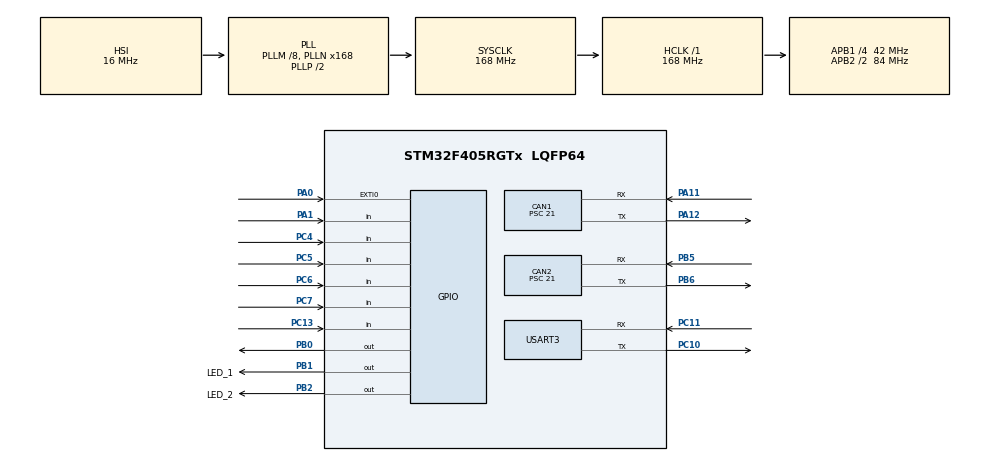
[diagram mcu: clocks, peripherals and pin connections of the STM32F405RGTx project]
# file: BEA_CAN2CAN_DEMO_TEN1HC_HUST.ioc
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CAN1.BS1=CAN_BS1_12TQ
CAN1.BS2=CAN_BS2_4TQ
CAN1.CalculateBaudRate=117647
CAN1.CalculateTimeBit=8500
CAN1.CalculateTimeQuantum=500.0
CAN1.Prescaler=21
CAN2.BS1=CAN_BS1_12TQ
CAN2.BS2=CAN_BS2_4TQ
CAN2.CalculateBaudRate=117647
CAN2.CalculateTimeBit=8500
CAN2.CalculateTimeQuantum=500.0
CAN2.Prescaler=21
Mcu.Family=STM32F4
Mcu.Name=STM32F405RGTx
Mcu.Package=LQFP64
NVIC.CAN1_RX0_IRQn=true\:2\:0\:true\:false\:true\:true\:true\:true
NVIC.CAN2_RX0_IRQn=true\:2\:0\:true\:false\:true\:true\:true\:true
NVIC.EXTI0_IRQn=true\:1\:0\:true\:false\:true\:true\:true\:true
NVIC.PriorityGroup=NVIC_PRIORITYGROUP_4
NVIC.USART3_IRQn=true\:1\:0\:true\:false\:true\:true\:true\:true
PA0-WKUP.GPIO_ModeDefaultEXTI=GPIO_MODE_IT_FALLING
PA0-WKUP.GPIO_PuPd=GPIO_PULLUP
PA0-WKUP.Signal=GPXTI0
PA1.GPIO_PuPd=GPIO_PULLUP
PA1.Signal=GPIO_Input
PA11.Mode=CAN_Activate
PA11.Signal=CAN1_RX
PA12.Mode=CAN_Activate
PA12.Signal=CAN1_TX
PB0.Signal=GPIO_Output
PB1.GPIO_Label=LED_1
PB1.Signal=GPIO_Output
PB2.GPIO_Label=LED_2
PB2.Signal=GPIO_Output
PB5.Mode=CAN_Activate
PB5.Signal=CAN2_RX
PB6.Mode=CAN_Activate
PB6.Signal=CAN2_TX
PC10.Mode=Asynchronous
PC10.Signal=USART3_TX
PC11.Mode=Asynchronous
PC11.Signal=USART3_RX
PC13-ANTI_TAMP.GPIO_PuPd=GPIO_PULLUP
PC13-ANTI_TAMP.Signal=GPIO_Input
PC4.GPIO_PuPd=GPIO_PULLUP
PC4.Signal=GPIO_Input
PC5.GPIO_PuPd=GPIO_PULLUP
PC5.Signal=GPIO_Input
PC6.GPIO_PuPd=GPIO_PULLUP
PC6.Signal=GPIO_Input
PC7.GPIO_PuPd=GPIO_PULLUP
PC7.Signal=GPIO_Input
PH0-OSC_IN.Mode=HSE-External-Oscillator
PH0-OSC_IN.Signal=RCC_OSC_IN
PH1-OSC_OUT.Mode=HSE-External-Oscillator
PH1-OSC_OUT.Signal=RCC_OSC_OUT
ProjectManager.HeapSize=0x200
ProjectManager.StackSize=0x400
ProjectManager.TargetToolchain=STM32CubeIDE
RCC.48MHZClocksFreq_Value=84000000
RCC.AHBFreq_Value=168000000
RCC.APB1CLKDivider=RCC_HCLK_DIV4
RCC.APB1Freq_Value=42000000
RCC.APB1TimFreq_Value=84000000
RCC.APB2CLKDivider=RCC_HCLK_DIV2
RCC.APB2Freq_Value=84000000
RCC.APB2TimFreq_Value=168000000
RCC.CortexFreq_Value=168000000
RCC.HCLKFreq_Value=168000000
RCC.HSE_VALUE=8000000
RCC.HSI_VALUE=16000000
RCC.LSE_VALUE=32768
RCC.PLLM=8
RCC.PLLN=168
RCC.SYSCLKFreq_VALUE=168000000
RCC.SYSCLKSource=RCC_SYSCLKSOURCE_PLLCLK
RCC.VCOOutputFreq_Value=336000000
USART3.VirtualMode=VM_ASYNC
board=custom

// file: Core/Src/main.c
/* USER CODE BEGIN Header */
/**
  ****************************************************************************
  * @file           : main.c
  * @brief          : Main program body
  ****************************************************************************
  * @attention
  *
  * Copyright (c) 2023 STMicroelectronics.
  * All rights reserved.
  *
  * This software is licensed under terms that can be found in the LICENSE file
  * in the root directory of this software component.
  * If no LICENSE file comes with this software, it is provided AS-IS.
  *
  ****************************************************************************
  */
/* USER CODE END Header */
#include "main.h"

CAN_HandleTypeDef hcan1;
CAN_HandleTypeDef hcan2;

UART_HandleTypeDef huart3;

/* USER CODE BEGIN PV */
uint8_t uart3_receive;

CAN_HandleTypeDef hcan1;
CAN_HandleTypeDef hcan2;
CAN_TxHeaderTypeDef CAN1_pHeader;
CAN_RxHeaderTypeDef CAN1_pHeaderRx;
CAN_FilterTypeDef CAN1_sFilterConfig;
CAN_TxHeaderTypeDef CAN2_pHeader;
CAN_RxHeaderTypeDef CAN2_pHeaderRx;
CAN_FilterTypeDef CAN2_sFilterConfig;
uint32_t CAN1_pTxMailbox;
uint32_t CAN2_pTxMailbox;

uint16_t NumBytesReq = 0;
uint8_t  REQ_BUFFER  [4096];
uint8_t  REQ_1BYTE_DATA;

uint8_t CAN1_DATA_TX[8] = {0x00,0x00,0x00,0x00,0x00,0x00,0x00,0x00};
uint8_t CAN1_DATA_RX[8] = {0x00,0x00,0x00,0x00,0x00,0x00,0x00,0x00};
uint8_t CAN2_DATA_TX[8] = {0x00,0x00,0x00,0x00,0x00,0x00,0x00,0x00};
uint8_t CAN2_DATA_RX[8] = {0x00,0x00,0x00,0x00,0x00,0x00,0x00,0x00};

CAN_HandleTypeDef hcan;

/* USER CODE BEGIN PV */

CAN_RxHeaderTypeDef rxHeader; //CAN Bus Transmit Header
CAN_TxHeaderTypeDef txHeader; //CAN Bus Receive Header
uint8_t canRX[8] = {0,0,0,0,0,0,0,0};  //CAN Bus Receive Buffer
CAN_FilterTypeDef canfil; //CAN Bus Filter
uint32_t canMailbox; //CAN Bus Mail box variable

uint16_t Num_Consecutive_Tester;
uint8_t  Flg_Consecutive = 0;

unsigned int TimeStamp;
// maximum characters send out via UART is 30
char bufsend[30]="XXX: D1 D2 D3 D4 D5 D6 D7 D8  ";
/* USER CODE END PV */

void SystemClock_Config(void);
static void MX_GPIO_Init(void);
static void MX_CAN1_Init(void);
static void MX_CAN2_Init(void);
static void MX_USART3_UART_Init(void);
/* USER CODE BEGIN PFP */
void MX_CAN1_Setup();
void MX_CAN2_Setup();
void USART3_SendString(uint8_t *ch);
void PrintCANLog(uint16_t CANID, uint8_t * CAN_Frame);
void SID_22_Practice();
void SID_2E_Practice();
void SID_27_Practice();
void delay(uint16_t delay);
/* USER CODE END PFP */

int main(void)
{

  /* USER CODE BEGIN 1 */
	uint16_t i,j = 0;
	uint16_t Consecutive_Cntr = 0;
  /* USER CODE END 1 */

  /* MCU Configuration--------------------------------------------------------*/

  /* Reset of all peripherals, Initializes the Flash interface and the Systick. */
  HAL_Init();

  /* Configure the system clock */
  SystemClock_Config();

  /* Initialize all configured peripherals */
  MX_GPIO_Init();
  MX_CAN1_Init();
  MX_CAN2_Init();
  MX_USART3_UART_Init();
  /* USER CODE BEGIN 2 */
  MX_CAN1_Setup();
  MX_CAN2_Setup();
  __HAL_UART_ENABLE_IT(&huart3, UART_IT_RXNE);

  /* USER CODE END 2 */

  /* Infinite loop */
  /* USER CODE BEGIN WHILE */
  // Example Function to print can message via uart
  PrintCANLog(CAN1_pHeader.StdId, &CAN1_DATA_TX[0]);

    CAN1_pHeader.DLC = 8;
    CAN1_pHeader.IDE = CAN_ID_STD;
    CAN1_pHeader.RTR = CAN_RTR_DATA;
    CAN1_pHeader.StdId = 0x030;
    CAN1_pHeader.ExtId = 0x02;
    CAN1_pHeader.TransmitGlobalTime = DISABLE;

    CAN2_pHeader.DLC = 8;
    CAN2_pHeader.IDE = CAN_ID_STD;
    CAN2_pHeader.RTR = CAN_RTR_DATA;
    CAN2_pHeader.StdId = 0x030;
    CAN2_pHeader.ExtId = 0x02;
    CAN2_pHeader.TransmitGlobalTime = DISABLE;

//    HAL_CAN_ConfigFilter(&hcan1,&CAN1_sFilterConfig);
//    HAL_CAN_Start(&hcan1);
//    HAL_CAN_ActivateNotification(&hcan1,CAN_IT_RX_FIFO0_MSG_PENDING);

  while (1)
  {
    /* USER CODE END WHILE */

    /* USER CODE BEGIN 3 */

	  uint8_t csend[] = {0x01,0x02,0x03,0x04,0x05,0x06,0x07,0x08};
//	  if (HAL_CAN_AddTxMessage(&hcan1,&CAN1_pHeader,csend,&CAN1_pTxMailbox) == HAL_OK) {
//		  	  HAL_GPIO_TogglePin(GPIOB, GPIO_PIN_0);
//	  }
//	  if (HAL_CAN_GetRxMessage(&hcan2, CAN_RX_FIFO0, &CAN2_pHeaderRx, canRX) == HAL_OK) {
//		  HAL_GPIO_TogglePin(LED_1_GPIO_Port,LED_1_Pin);
//	  }
	  HAL_CAN_AddTxMessage(&hcan1,&CAN1_pHeader,csend,&CAN1_pTxMailbox);
	  PrintCANLog(CAN2_pHeader.StdId, &CAN2_DATA_RX[0]);
//	  HAL_GPIO_TogglePin(LED_1_GPIO_Port,LED_1_Pin);
	  if (CAN2_DATA_RX[0]==csend[0]) {
		  HAL_GPIO_TogglePin(GPIOB,GPIO_PIN_0);
	  }
	  HAL_Delay(1000);
  }

  memset(&REQ_BUFFER,0x00,4096);
  NumBytesReq = 0;

  /* USER CODE END 3 */
}

void SystemClock_Config(void)
{
  RCC_OscInitTypeDef RCC_OscInitStruct = {0};
  RCC_ClkInitTypeDef RCC_ClkInitStruct = {0};

  /** Configure the main internal regulator output voltage
  */
  __HAL_RCC_PWR_CLK_ENABLE();
  __HAL_PWR_VOLTAGESCALING_CONFIG(PWR_REGULATOR_VOLTAGE_SCALE1);

  /** Initializes the RCC Oscillators according to the specified parameters
  * in the RCC_OscInitTypeDef structure.
  */
  RCC_OscInitStruct.OscillatorType = RCC_OSCILLATORTYPE_HSI;
  RCC_OscInitStruct.HSIState = RCC_HSI_ON;
  RCC_OscInitStruct.HSICalibrationValue = RCC_HSICALIBRATION_DEFAULT;
  RCC_OscInitStruct.PLL.PLLState = RCC_PLL_ON;
  RCC_OscInitStruct.PLL.PLLSource = RCC_PLLSOURCE_HSI;
  RCC_OscInitStruct.PLL.PLLM = 8;
  RCC_OscInitStruct.PLL.PLLN = 168;
  RCC_OscInitStruct.PLL.PLLP = RCC_PLLP_DIV2;
  RCC_OscInitStruct.PLL.PLLQ = 4;
  if (HAL_RCC_OscConfig(&RCC_OscInitStruct) != HAL_OK)
  {
    Error_Handler();
  }

  /** Initializes the CPU, AHB and APB buses clocks
  */
  RCC_ClkInitStruct.ClockType = RCC_CLOCKTYPE_HCLK|RCC_CLOCKTYPE_SYSCLK
                              |RCC_CLOCKTYPE_PCLK1|RCC_CLOCKTYPE_PCLK2;
  RCC_ClkInitStruct.SYSCLKSource = RCC_SYSCLKSOURCE_PLLCLK;
  RCC_ClkInitStruct.AHBCLKDivider = RCC_SYSCLK_DIV1;
  RCC_ClkInitStruct.APB1CLKDivider = RCC_HCLK_DIV4;
  RCC_ClkInitStruct.APB2CLKDivider = RCC_HCLK_DIV2;

  if (HAL_RCC_ClockConfig(&RCC_ClkInitStruct, FLASH_LATENCY_5) != HAL_OK)
  {
    Error_Handler();
  }
}

static void MX_CAN1_Init(void)
{

  hcan1.Instance = CAN1;
  hcan1.Init.Prescaler = 21;
  hcan1.Init.Mode = CAN_MODE_NORMAL;
  hcan1.Init.SyncJumpWidth = CAN_SJW_1TQ;
  hcan1.Init.TimeSeg1 = CAN_BS1_12TQ;
  hcan1.Init.TimeSeg2 = CAN_BS2_4TQ;
  hcan1.Init.TimeTriggeredMode = DISABLE;
  hcan1.Init.AutoBusOff = DISABLE;
  hcan1.Init.AutoWakeUp = DISABLE;
  hcan1.Init.AutoRetransmission = DISABLE;
  hcan1.Init.ReceiveFifoLocked = DISABLE;
  hcan1.Init.TransmitFifoPriority = DISABLE;
  if (HAL_CAN_Init(&hcan1) != HAL_OK)
  {
    Error_Handler();
  }
  /* USER CODE BEGIN CAN1_Init 2 */
  CAN1_sFilterConfig.FilterBank = 0;
  CAN1_sFilterConfig.FilterMode = CAN_FILTERMODE_IDMASK;
  CAN1_sFilterConfig.FilterFIFOAssignment = CAN_RX_FIFO0;
  CAN1_sFilterConfig.FilterIdHigh = 0;
  CAN1_sFilterConfig.FilterIdLow = 0;
  CAN1_sFilterConfig.FilterMaskIdHigh = 0;
  CAN1_sFilterConfig.FilterMaskIdLow = 0;
  CAN1_sFilterConfig.FilterScale = CAN_FILTERSCALE_32BIT;
  CAN1_sFilterConfig.FilterActivation = ENABLE;
  CAN1_sFilterConfig.SlaveStartFilterBank = 14;
  /* USER CODE END CAN1_Init 2 */

}

static void MX_CAN2_Init(void)
{

  hcan2.Instance = CAN2;
  hcan2.Init.Prescaler = 21;
  hcan2.Init.Mode = CAN_MODE_NORMAL;
  hcan2.Init.SyncJumpWidth = CAN_SJW_1TQ;
  hcan2.Init.TimeSeg1 = CAN_BS1_12TQ;
  hcan2.Init.TimeSeg2 = CAN_BS2_4TQ;
  hcan2.Init.TimeTriggeredMode = DISABLE;
  hcan2.Init.AutoBusOff = DISABLE;
  hcan2.Init.AutoWakeUp = DISABLE;
  hcan2.Init.AutoRetransmission = DISABLE;
  hcan2.Init.ReceiveFifoLocked = DISABLE;
  hcan2.Init.TransmitFifoPriority = DISABLE;
  if (HAL_CAN_Init(&hcan2) != HAL_OK)
  {
    Error_Handler();
  }
  /* USER CODE BEGIN CAN2_Init 2 */
  CAN2_sFilterConfig.FilterBank = 14;
  CAN2_sFilterConfig.FilterMode = CAN_FILTERMODE_IDMASK;
  CAN2_sFilterConfig.FilterFIFOAssignment = CAN_RX_FIFO0;
  CAN2_sFilterConfig.FilterIdHigh = 0;
  CAN2_sFilterConfig.FilterIdLow = 0;
  CAN2_sFilterConfig.FilterMaskIdHigh = 0;
  CAN2_sFilterConfig.FilterMaskIdLow = 0;
  CAN2_sFilterConfig.FilterScale = CAN_FILTERSCALE_32BIT;
  CAN2_sFilterConfig.FilterActivation = ENABLE;
  CAN2_sFilterConfig.SlaveStartFilterBank = 14;
  /* USER CODE END CAN2_Init 2 */

}

static void MX_USART3_UART_Init(void)
{

  huart3.Instance = USART3;
  huart3.Init.BaudRate = 115200;
  huart3.Init.WordLength = UART_WORDLENGTH_8B;
  huart3.Init.StopBits = UART_STOPBITS_1;
  huart3.Init.Parity = UART_PARITY_NONE;
  huart3.Init.Mode = UART_MODE_TX_RX;
  huart3.Init.HwFlowCtl = UART_HWCONTROL_NONE;
  huart3.Init.OverSampling = UART_OVERSAMPLING_16;
  if (HAL_UART_Init(&huart3) != HAL_OK)
  {
    Error_Handler();
  }

}

static void MX_GPIO_Init(void)
{
  GPIO_InitTypeDef GPIO_InitStruct = {0};

  /* GPIO Ports Clock Enable */
  __HAL_RCC_GPIOC_CLK_ENABLE();
  __HAL_RCC_GPIOH_CLK_ENABLE();
  __HAL_RCC_GPIOA_CLK_ENABLE();
  __HAL_RCC_GPIOB_CLK_ENABLE();

  /*Configure GPIO pin Output Level */
  HAL_GPIO_WritePin(GPIOB, GPIO_PIN_0|LED_1_Pin|LED_2_Pin, GPIO_PIN_RESET);

  /*Configure GPIO pins : PC13 PC4 PC5 PC6
                           PC7 */
  GPIO_InitStruct.Pin = GPIO_PIN_13|GPIO_PIN_4|GPIO_PIN_5|GPIO_PIN_6
                          |GPIO_PIN_7;
  GPIO_InitStruct.Mode = GPIO_MODE_INPUT;
  GPIO_InitStruct.Pull = GPIO_PULLUP;
  HAL_GPIO_Init(GPIOC, &GPIO_InitStruct);

  /*Configure GPIO pin : PA0 */
  GPIO_InitStruct.Pin = GPIO_PIN_0;
  GPIO_InitStruct.Mode = GPIO_MODE_IT_FALLING;
  GPIO_InitStruct.Pull = GPIO_PULLUP;
  HAL_GPIO_Init(GPIOA, &GPIO_InitStruct);

  /*Configure GPIO pin : PA1 */
  GPIO_InitStruct.Pin = GPIO_PIN_1;
  GPIO_InitStruct.Mode = GPIO_MODE_INPUT;
  GPIO_InitStruct.Pull = GPIO_PULLUP;
  HAL_GPIO_Init(GPIOA, &GPIO_InitStruct);

  /*Configure GPIO pins : PB0 LED_1_Pin LED_2_Pin */
  GPIO_InitStruct.Pin = GPIO_PIN_0|LED_1_Pin|LED_2_Pin;
  GPIO_InitStruct.Mode = GPIO_MODE_OUTPUT_PP;
  GPIO_InitStruct.Pull = GPIO_NOPULL;
  GPIO_InitStruct.Speed = GPIO_SPEED_FREQ_LOW;
  HAL_GPIO_Init(GPIOB, &GPIO_InitStruct);

  /* EXTI interrupt init*/
  HAL_NVIC_SetPriority(EXTI0_IRQn, 1, 0);
  HAL_NVIC_EnableIRQ(EXTI0_IRQn);

}

/* USER CODE BEGIN 4 */

void HAL_CAN_RxFifo0MsgPendingCallback(CAN_HandleTypeDef *hcan)
{
	HAL_CAN_GetRxMessage(hcan, CAN_RX_FIFO0, &CAN2_pHeaderRx, CAN2_DATA_RX);
	HAL_GPIO_TogglePin(LED_1_GPIO_Port, LED_1_Pin);

}

void MX_CAN1_Setup()
{
	HAL_CAN_ConfigFilter(&hcan1, &CAN1_sFilterConfig);
	HAL_CAN_Start(&hcan1);
	HAL_CAN_ActivateNotification(&hcan1, CAN_IT_RX_FIFO0_MSG_PENDING);
}
void MX_CAN2_Setup()
{
	HAL_CAN_ConfigFilter(&hcan2, &CAN2_sFilterConfig);
	HAL_CAN_Start(&hcan2);
	HAL_CAN_ActivateNotification(&hcan2, CAN_IT_RX_FIFO0_MSG_PENDING);
}

void USART3_SendString(uint8_t *ch)
{
   while(*ch!=0)
   {
      HAL_UART_Transmit(&huart3, ch, 1,HAL_MAX_DELAY);
      ch++;
   }
}

int calc_SAE_J1850(int data[], int Crc_len) {
	int idx, crc, temp, temp1, temp2, idy;
	crc=0;
	idx=0;
	idy=0;
	temp=0;
	temp1=0;
	temp2=0;
	for (idx=0;idx<Crc_len;idx++) {
		if (idx==0) {
			temp1=0;
		} else {
			temp1=data[Crc_len-idx];
		}
		crc=(crc^temp1);
		for (idy=8;idy>0;idy--) {
			temp2=crc;
			crc <<=1;
			if (0 != (temp2 & 128)) {
				crc ^= 0x1D;
			}
		}
	}
	return crc;
}

void PrintCANLog(uint16_t CANID, uint8_t * CAN_Frame)
{
	uint16_t loopIndx = 0;
	char bufID[3] = "   ";
	char bufDat[2] = "  ";
	char bufTime [8]="        ";

	sprintf(bufTime,"%d",TimeStamp);
	USART3_SendString((uint8_t*)bufTime);
	USART3_SendString((uint8_t*)" ");

	sprintf(bufID,"%X",CANID);
	for(loopIndx = 0; loopIndx < 3; loopIndx ++)
	{
		bufsend[loopIndx]  = bufID[loopIndx];
	}
	bufsend[3] = ':';
	bufsend[4] = ' ';

	for(loopIndx = 0; loopIndx < 8; loopIndx ++ )
	{
		sprintf(bufDat,"%02X",CAN_Frame[loopIndx]);
		bufsend[loopIndx*3 + 5] = bufDat[0];
		bufsend[loopIndx*3 + 6] = bufDat[1];
		bufsend[loopIndx*3 + 7] = ' ';
	}
	bufsend[29] = '\n';
	USART3_SendString((unsigned char*)bufsend);
}
void HAL_UART_RxCpltCallback(UART_HandleTypeDef *huart)
{
	REQ_BUFFER[NumBytesReq] = REQ_1BYTE_DATA;
	NumBytesReq++;
	//REQ_BUFFER[7] = NumBytesReq;
}
void delay(uint16_t delay)
{
	HAL_Delay(delay);
}
/* USER CODE END 4 */

void Error_Handler(void)
{
  __disable_irq();
  while (1)
  {
  }
}
